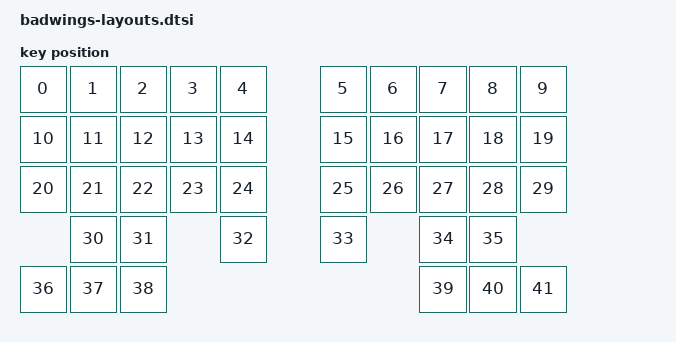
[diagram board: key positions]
#include "position_map.dtsi"
#include <physical_layouts.dtsi>

/ {
    badwings_layout: badwings_layout {
        compatible = "zmk,physical-layout";
        display-name = "Bad Wings";
        transform = <&default_transform>;
        kscan = <&kscan0>;

        keys
            // w   h    x    y     rot    rx    ry
            // Row 0
            = <&key_physical_attrs 100 100  0     0     0 0 0>
            , <&key_physical_attrs 100 100 100    0     0 0 0>
            , <&key_physical_attrs 100 100 200    0     0 0 0>
            , <&key_physical_attrs 100 100 300    0     0 0 0>
            , <&key_physical_attrs 100 100 400    0     0 0 0>

            , <&key_physical_attrs 100 100 600    0     0 0 0>
            , <&key_physical_attrs 100 100 700    0     0 0 0>
            , <&key_physical_attrs 100 100 800    0     0 0 0>
            , <&key_physical_attrs 100 100 900    0     0 0 0>
            , <&key_physical_attrs 100 100 1000   0     0 0 0>

            // Row 1
            , <&key_physical_attrs 100 100  0   100     0 0 0>
            , <&key_physical_attrs 100 100 100  100     0 0 0>
            , <&key_physical_attrs 100 100 200  100     0 0 0>
            , <&key_physical_attrs 100 100 300  100     0 0 0>
            , <&key_physical_attrs 100 100 400  100     0 0 0>

            , <&key_physical_attrs 100 100 600  100     0 0 0>
            , <&key_physical_attrs 100 100 700  100     0 0 0>
            , <&key_physical_attrs 100 100 800  100     0 0 0>
            , <&key_physical_attrs 100 100 900  100     0 0 0>
            , <&key_physical_attrs 100 100 1000 100     0 0 0>

            // Row 2
            , <&key_physical_attrs 100 100  0   200     0 0 0>
            , <&key_physical_attrs 100 100 100  200     0 0 0>
            , <&key_physical_attrs 100 100 200  200     0 0 0>
            , <&key_physical_attrs 100 100 300  200     0 0 0>
            , <&key_physical_attrs 100 100 400  200     0 0 0>

            , <&key_physical_attrs 100 100 600  200     0 0 0>
            , <&key_physical_attrs 100 100 700  200     0 0 0>
            , <&key_physical_attrs 100 100 800  200     0 0 0>
            , <&key_physical_attrs 100 100 900  200     0 0 0>
            , <&key_physical_attrs 100 100 1000 200     0 0 0>

            // Row 3 (shortened row)
            , <&key_physical_attrs 100 100 100  300     0 0 0>
            , <&key_physical_attrs 100 100 200  300     0 0 0>
            , <&key_physical_attrs 100 100 400  300     0 0 0>

            , <&key_physical_attrs 100 100 600  300     0 0 0>
            , <&key_physical_attrs 100 100 800  300     0 0 0>
            , <&key_physical_attrs 100 100 900  300     0 0 0>

            // Row 4 (bottom row)
            , <&key_physical_attrs 100 100  0   400     0 0 0>
            , <&key_physical_attrs 100 100 100  400     0 0 0>
            , <&key_physical_attrs 100 100 200  400     0 0 0>

            , <&key_physical_attrs 100 100 800  400     0 0 0>
            , <&key_physical_attrs 100 100 900  400     0 0 0>
            , <&key_physical_attrs 100 100 1000 400     0 0 0>;
    };
};

&position_map {
    badwings_posmap: badwings {
        physical-layout = <&badwings_layout>;
        positions
        = < 0  1  2  3  4  5  6  7  8  9>
        , <10 11 12 13 14 15 16 17 18 19>
        , <20 21 22 23 24 25 26 27 28 29>
        , <   30 31    32 33    34 35 36>
        , <37 38 39             40 41 42>;
    };
};
